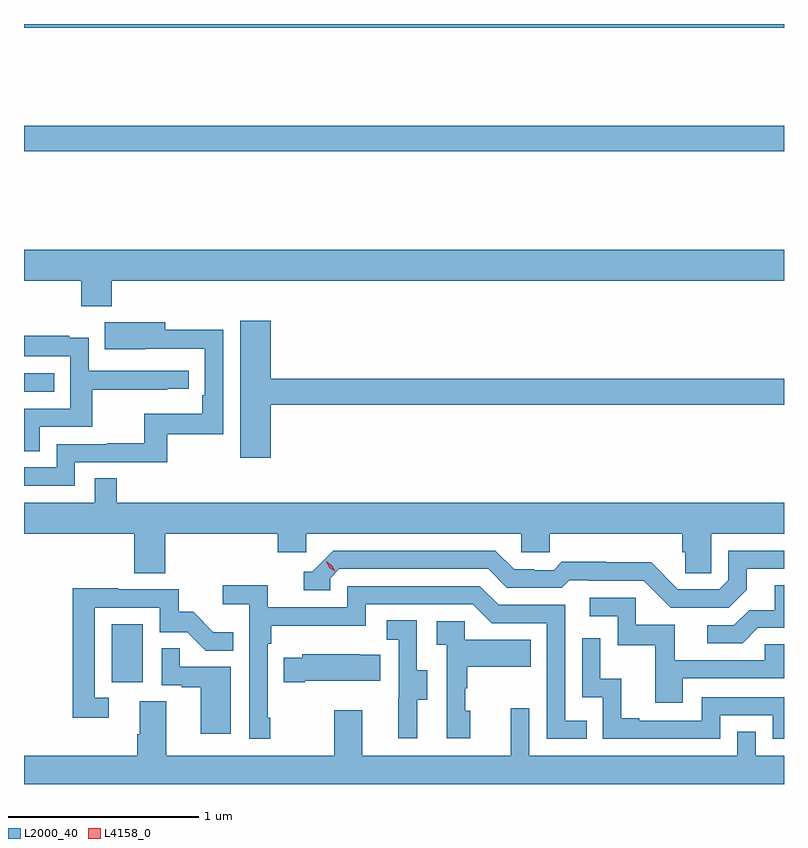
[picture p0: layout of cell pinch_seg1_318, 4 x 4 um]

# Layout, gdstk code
import gdstk
lib = gdstk.Library(unit=1e-6, precision=1e-09)
def R(c, l, rs):  # rectangles x0, y0, x1, y1
    for r in rs: c.add(gdstk.rectangle(r[:2], r[2:], *l))
def P(c, l, *ps):  # polygons
    for p in ps: c.add(gdstk.Polygon(p, *l))
L2000_40 = (2000, 40)
L4158_0 = (4158, 0)

pinch_seg1_318 = lib.new_cell('pinch_seg1_318')
R(pinch_seg1_318, L2000_40, [(994.268,542.958,994.432,543.265), (993.806,544.488,993.965,544.584), (993.806,545.752,997.806,545.888), (993.806,546.404,997.806,546.423)])
P(pinch_seg1_318, L2000_40, [(994.268,545.072),(997.806,545.072),(997.806,545.236),(993.806,545.236),(993.806,545.072),(994.108,545.072),(994.108,544.937),(994.268,544.937)],
  [(995.104,544.42),(997.806,544.42),(997.806,544.556),(995.104,544.556),(995.104,544.861),(994.943,544.861),(994.943,544.14),(995.104,544.14)],
  [(994.074,544.116),(994.561,544.116),(994.561,544.263),(994.854,544.263),(994.854,544.814),(994.549,544.814),(994.549,544.852),(994.231,544.852),(994.231,544.712),(994.445,544.712),(994.445,544.713),(994.758,544.713),(994.758,544.468),(994.745,544.468),(994.745,544.372),(994.44,544.372),(994.44,544.217),(994.243,544.217),(994.243,544.212),(993.978,544.212),(993.978,544.089),(993.806,544.089),(993.806,543.993),(994.074,543.993)],
  [(993.889,544.302),(994.166,544.302),(994.166,544.498),(994.559,544.498),(994.559,544.503),(994.672,544.503),(994.672,544.599),(994.146,544.599),(994.146,544.771),(994.043,544.771),(994.043,544.783),(993.806,544.783),(993.806,544.674),(994.05,544.674),(994.05,544.398),(993.806,544.398),(993.806,544.174),(993.889,544.174)],
  [(994.179,544.031),(994.179,543.904),(993.806,543.904),(993.806,543.74),(994.385,543.74),(994.385,543.532),(994.55,543.532),(994.55,543.74),(995.141,543.74),(995.141,543.642),(995.292,543.642),(995.292,543.74),(996.423,543.74),(996.423,543.642),(996.573,543.642),(996.573,543.74),(997.271,543.74),(997.271,543.642),(997.285,543.642),(997.285,543.532),(997.422,543.532),(997.422,543.74),(997.806,543.74),(997.806,543.904),(994.295,543.904),(994.295,544.031)],
  [(997.609,543.445),(997.609,543.555),(997.806,543.555),(997.806,543.651),(997.512,543.651),(997.512,543.495),(997.464,543.447),(997.248,543.447),(997.106,543.589),(996.87,543.589),(996.87,543.592),(996.637,543.592),(996.595,543.549),(996.492,543.549),(996.492,543.552),(996.385,543.552),(996.286,543.651),(995.433,543.651),(995.322,543.54),(995.279,543.54),(995.279,543.444),(995.418,543.444),(995.418,543.507),(995.466,543.555),(996.249,543.555),(996.348,543.456),(996.637,543.456),(996.676,543.495),(996.775,543.495),(996.775,543.492),(997.068,543.492),(997.209,543.351),(997.515,543.351)],
  [(997.669,543.246),(997.806,543.246),(997.806,543.47),(997.757,543.47),(997.757,543.338),(997.622,543.338),(997.542,543.258),(997.401,543.258),(997.401,543.165),(997.588,543.165)],
  [(995.101,542.773),(995.088,542.773),(995.088,543.161),(995.108,543.161),(995.108,543.257),(995.604,543.257),(995.604,543.369),(996.168,543.369),(996.267,543.27),(996.558,543.27),(996.558,542.661),(996.767,542.661),(996.767,542.757),(996.654,542.757),(996.654,543.366),(996.304,543.366),(996.205,543.465),(995.508,543.465),(995.508,543.354),(995.09,543.354),(995.09,543.47),(994.851,543.47),(994.851,543.368),(994.992,543.368),(994.992,542.661),(995.101,542.661)],
  [(994.252,542.877),(994.179,542.877),(994.179,543.351),(994.521,543.351),(994.521,543.222),(994.665,543.222),(994.763,543.124),(994.907,543.124),(994.907,543.223),(994.803,543.223),(994.696,543.33),(994.62,543.33),(994.62,543.447),(994.301,543.447),(994.301,543.452),(994.063,543.452),(994.063,542.772),(994.252,542.772)],
  [(997.273,542.979),(997.806,542.979),(997.806,543.159),(997.705,543.159),(997.705,543.075),(997.231,543.075),(997.231,543.261),(997.026,543.261),(997.026,543.402),(996.783,543.402),(996.783,543.306),(996.93,543.306),(996.93,543.153),(997.129,543.153),(997.129,542.85),(997.273,542.85)],
  [(995.875,542.866),(995.929,542.866),(995.929,543.021),(995.874,543.021),(995.874,543.284),(995.715,543.284),(995.715,543.181),(995.778,543.181),(995.778,542.877),(995.777,542.877),(995.777,542.664),(995.875,542.664)],
  [(996.154,542.808),(996.129,542.808),(996.129,542.927),(996.139,542.927),(996.139,543.041),(996.473,543.041),(996.473,543.181),(996.126,543.181),(996.126,543.279),(995.979,543.279),(995.979,543.155),(996.03,543.155),(996.03,542.664),(996.154,542.664)],
  [(997.47,542.784),(997.746,542.784),(997.746,542.661),(997.806,542.661),(997.806,542.88),(997.374,542.88),(997.374,542.757),(997.045,542.757),(997.045,542.77),(996.95,542.77),(996.95,542.978),(996.84,542.978),(996.84,543.19),(996.744,543.19),(996.744,542.88),(996.852,542.88),(996.852,542.661),(997.47,542.661)],
  [(994.894,543.039),(994.625,543.039),(994.625,543.137),(994.53,543.137),(994.53,542.943),(994.637,542.943),(994.637,542.931),(994.736,542.931),(994.736,542.688),(994.894,542.688)],
  [(995.284,542.966),(995.681,542.966),(995.681,543.103),(995.573,543.103),(995.573,543.106),(995.271,543.106),(995.271,543.088),(995.173,543.088),(995.173,542.959),(995.284,542.959)],
  [(994.415,542.858),(994.415,542.684),(994.403,542.684),(994.403,542.572),(993.806,542.572),(993.806,542.423),(997.806,542.423),(997.806,542.572),(997.656,542.572),(997.656,542.699),(997.56,542.699),(997.56,542.572),(996.465,542.572),(996.465,542.821),(996.368,542.821),(996.368,542.572),(995.587,542.572),(995.587,542.812),(995.44,542.812),(995.44,542.572),(994.555,542.572),(994.555,542.858)])
P(pinch_seg1_318, L4158_0, [(995.443,543.542),(995.412,543.562),(995.397,543.594),(995.397,543.595),(995.397,543.595),(995.427,543.575),(995.443,543.542),(995.443,543.542)])

lib.write_gds('pinch_seg1_318.gds')
